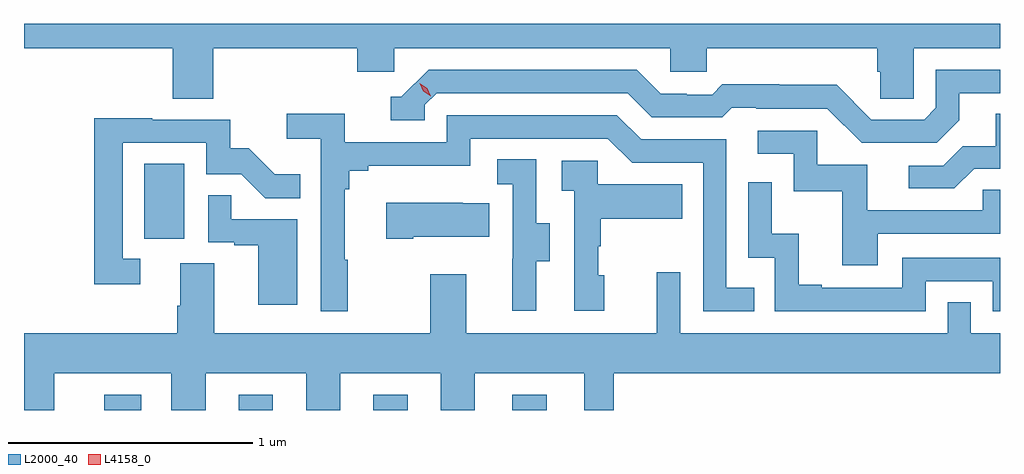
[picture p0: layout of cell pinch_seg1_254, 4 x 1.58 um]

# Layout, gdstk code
import gdstk
lib = gdstk.Library(unit=1e-6, precision=1e-09)
def R(c, l, rs):  # rectangles x0, y0, x1, y1
    for r in rs: c.add(gdstk.rectangle(r[:2], r[2:], *l))
def P(c, l, *ps):  # polygons
    for p in ps: c.add(gdstk.Polygon(p, *l))
L2000_40 = (2000, 40)
L4158_0 = (4158, 0)

pinch_seg1_254 = lib.new_cell('pinch_seg1_254')
R(pinch_seg1_254, L2000_40, [(932.609,582.215,932.761,582.28), (933.161,582.215,933.301,582.28), (933.713,582.215,933.853,582.28), (934.283,582.215,934.423,582.28), (932.774,582.918,932.938,583.225)])
P(pinch_seg1_254, L2000_40, [(933.056,583.7),(933.647,583.7),(933.647,583.602),(933.798,583.602),(933.798,583.7),(934.929,583.7),(934.929,583.602),(935.079,583.602),(935.079,583.7),(935.777,583.7),(935.777,583.602),(935.791,583.602),(935.791,583.492),(935.928,583.492),(935.928,583.7),(936.281,583.7),(936.281,583.8),(932.281,583.8),(932.281,583.7),(932.891,583.7),(932.891,583.492),(933.056,583.492)],
  [(936.115,583.405),(936.115,583.515),(936.281,583.515),(936.281,583.611),(936.018,583.611),(936.018,583.455),(935.97,583.407),(935.754,583.407),(935.612,583.549),(935.376,583.549),(935.376,583.552),(935.143,583.552),(935.101,583.509),(934.998,583.509),(934.998,583.512),(934.891,583.512),(934.792,583.611),(933.939,583.611),(933.828,583.5),(933.785,583.5),(933.785,583.404),(933.924,583.404),(933.924,583.467),(933.972,583.515),(934.755,583.515),(934.854,583.416),(935.143,583.416),(935.182,583.455),(935.281,583.455),(935.281,583.452),(935.574,583.452),(935.715,583.311),(936.021,583.311)],
  [(933.607,582.833),(933.595,582.833),(933.595,583.121),(933.614,583.121),(933.614,583.198),(933.691,583.198),(933.691,583.217),(934.11,583.217),(934.11,583.329),(934.674,583.329),(934.773,583.23),(935.064,583.23),(935.064,582.621),(935.273,582.621),(935.273,582.717),(935.16,582.717),(935.16,583.326),(934.81,583.326),(934.711,583.425),(934.014,583.425),(934.014,583.314),(933.596,583.314),(933.596,583.43),(933.357,583.43),(933.357,583.328),(933.498,583.328),(933.498,582.621),(933.607,582.621)],
  [(936.175,583.206),(936.281,583.206),(936.281,583.43),(936.263,583.43),(936.263,583.298),(936.128,583.298),(936.048,583.218),(935.907,583.218),(935.907,583.125),(936.094,583.125)],
  [(932.758,582.837),(932.685,582.837),(932.685,583.311),(933.027,583.311),(933.027,583.182),(933.171,583.182),(933.269,583.084),(933.413,583.084),(933.413,583.183),(933.309,583.183),(933.202,583.29),(933.126,583.29),(933.126,583.407),(932.807,583.407),(932.807,583.412),(932.569,583.412),(932.569,582.732),(932.758,582.732)],
  [(935.779,582.939),(936.281,582.939),(936.281,583.119),(936.211,583.119),(936.211,583.035),(935.737,583.035),(935.737,583.221),(935.532,583.221),(935.532,583.362),(935.289,583.362),(935.289,583.266),(935.436,583.266),(935.436,583.113),(935.635,583.113),(935.635,582.81),(935.779,582.81)],
  [(934.381,582.826),(934.435,582.826),(934.435,582.981),(934.38,582.981),(934.38,583.244),(934.221,583.244),(934.221,583.141),(934.284,583.141),(934.284,582.837),(934.283,582.837),(934.283,582.624),(934.381,582.624)],
  [(934.66,582.768),(934.635,582.768),(934.635,582.887),(934.645,582.887),(934.645,583.001),(934.979,583.001),(934.979,583.141),(934.632,583.141),(934.632,583.239),(934.485,583.239),(934.485,583.115),(934.536,583.115),(934.536,582.624),(934.66,582.624)],
  [(935.976,582.744),(936.252,582.744),(936.252,582.621),(936.281,582.621),(936.281,582.84),(935.88,582.84),(935.88,582.717),(935.551,582.717),(935.551,582.73),(935.456,582.73),(935.456,582.938),(935.346,582.938),(935.346,583.15),(935.25,583.15),(935.25,582.84),(935.358,582.84),(935.358,582.621),(935.976,582.621)],
  [(933.4,582.999),(933.131,582.999),(933.131,583.097),(933.036,583.097),(933.036,582.903),(933.143,582.903),(933.143,582.891),(933.242,582.891),(933.242,582.648),(933.4,582.648)],
  [(933.877,582.926),(934.187,582.926),(934.187,583.063),(934.079,583.063),(934.079,583.066),(933.765,583.066),(933.765,582.919),(933.877,582.919)],
  [(932.404,582.368),(932.885,582.368),(932.885,582.215),(933.025,582.215),(933.025,582.368),(933.437,582.368),(933.437,582.215),(933.577,582.215),(933.577,582.368),(933.989,582.368),(933.989,582.215),(934.128,582.215),(934.128,582.368),(934.577,582.368),(934.577,582.215),(934.699,582.215),(934.699,582.368),(936.281,582.368),(936.281,582.532),(936.162,582.532),(936.162,582.659),(936.066,582.659),(936.066,582.532),(934.971,582.532),(934.971,582.781),(934.874,582.781),(934.874,582.532),(934.093,582.532),(934.093,582.772),(933.946,582.772),(933.946,582.532),(933.061,582.532),(933.061,582.818),(932.921,582.818),(932.921,582.644),(932.909,582.644),(932.909,582.532),(932.281,582.532),(932.281,582.215),(932.404,582.215)])
P(pinch_seg1_254, L4158_0, [(933.949,583.502),(933.918,583.522),(933.903,583.555),(933.903,583.555),(933.903,583.555),(933.933,583.535),(933.949,583.502),(933.949,583.502)])

lib.write_gds('pinch_seg1_254.gds')
